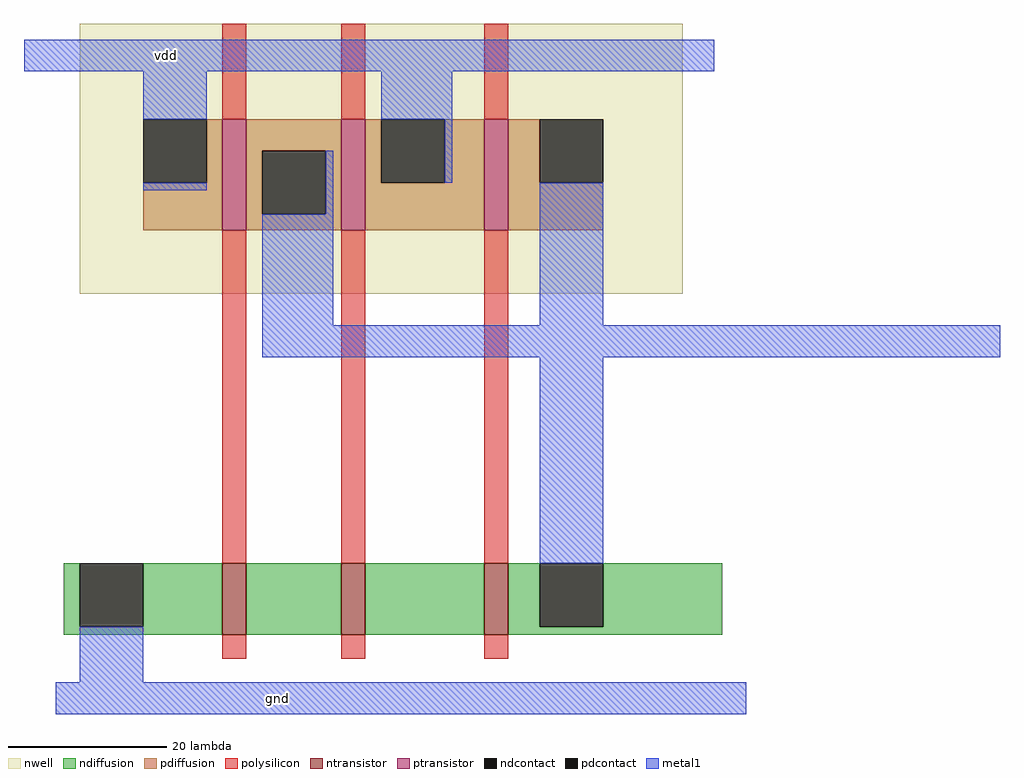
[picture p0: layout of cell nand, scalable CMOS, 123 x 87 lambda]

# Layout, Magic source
magic
tech scmos
<< nwell >>
rect -39 -8 37 26
<< ntransistor >>
rect -21 -51 -18 -42
rect -6 -51 -3 -42
rect 12 -51 15 -42
<< ptransistor >>
rect -21 0 -18 14
rect -6 0 -3 14
rect 12 0 15 14
<< ndiffusion >>
rect -41 -50 -39 -42
rect -31 -50 -21 -42
rect -41 -51 -21 -50
rect -18 -51 -6 -42
rect -3 -51 12 -42
rect 15 -50 19 -42
rect 27 -50 42 -42
rect 15 -51 42 -50
<< pdiffusion >>
rect -23 6 -21 14
rect -31 0 -21 6
rect -18 10 -6 14
rect -18 2 -16 10
rect -8 2 -6 10
rect -18 0 -6 2
rect -3 6 -1 14
rect 7 6 12 14
rect -3 0 12 6
rect 15 6 19 14
rect 15 0 27 6
<< ndcontact >>
rect -39 -50 -31 -42
rect 19 -50 27 -42
<< pdcontact >>
rect -31 6 -23 14
rect -16 2 -8 10
rect -1 6 7 14
rect 19 6 27 14
<< polysilicon >>
rect -21 14 -18 26
rect -6 14 -3 26
rect 12 14 15 26
rect -21 -42 -18 0
rect -6 -42 -3 0
rect 12 -42 15 0
rect -21 -54 -18 -51
rect -6 -54 -3 -51
rect 12 -54 15 -51
<< metal1 >>
rect -46 20 41 24
rect -31 14 -23 20
rect -1 14 8 20
rect -31 5 -23 6
rect -8 2 -7 10
rect 7 6 8 14
rect -16 -12 -7 2
rect 19 -12 27 6
rect -16 -16 77 -12
rect 19 -42 27 -16
rect -39 -57 -31 -50
rect -42 -61 45 -57
<< labels >>
rlabel metal1 -28 22 -28 22 5 vdd
rlabel metal1 -14 -59 -14 -59 1 gnd
<< end >>
